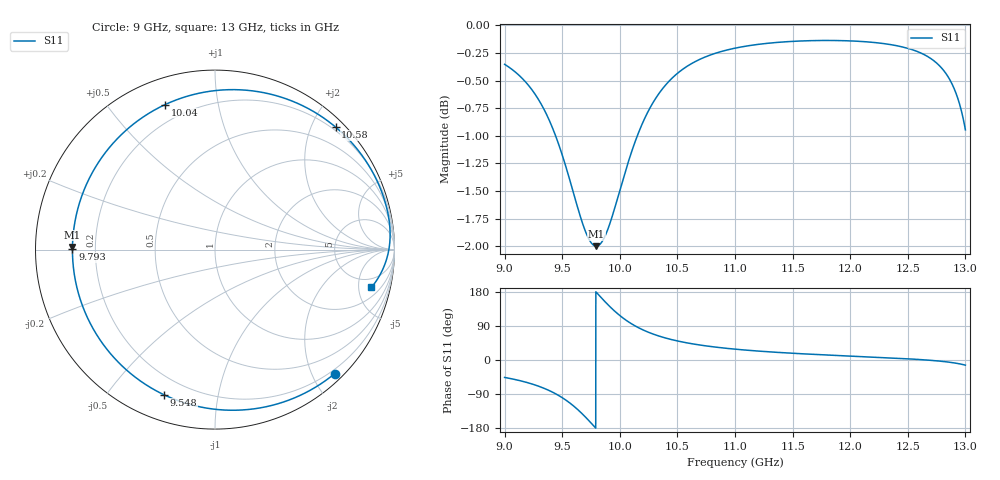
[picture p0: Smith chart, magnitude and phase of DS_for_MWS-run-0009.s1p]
! TOUCHSTONE file generated by CST DESIGN STUDIO
! Date and time: Tue Feb  4 14:03:09 2025
! Project name: C:\Work\MatlabApps\UnitCellOptimizationMatlab\CST\unitcell.cst
! Tree item: Tasks\Sweep1\SPara1\S-Parameters
! Header version: 2024
! Port assignment regex: !\s*Touchstone port\s*([0-9]+)\s*=\s*(CST MWS port|CST DES external port|CST DES block port)\s*(.+)\s* \(\"(.*)\"\)(\s*mode\s*([0-9]+))?.*
! Touchstone port assignment:
! Touchstone port 1 = CST DES external port 1 ("")
# GHz S MA R 50
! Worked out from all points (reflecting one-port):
!   4001 points, 9 GHz to 13 GHz, reference 50 ohm
!   lowest |S11| = -2.0 dB at 9.795 GHz (marker M1), VSWR 8.72, Z = 5.73 + j0.435 ohm
!   phase of S11 starts at -46 deg and turns -328 deg over the sweep
!   S11 on the Smith chart (normalised r, x): 9 GHz: 0.13, -2.35; 9.548 GHz: 0.12, -0.70; 9.793 GHz: 0.11, +0.00; 10.04 GHz: 0.12, +0.71; 10.58 GHz: 0.14, +2.38; 13 GHz: 3.22, -6.93
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9  0.9602 -46.0
9.142  0.9475 -55.2
9.272  0.9295 -66.7
9.387  0.9059 -80.6
9.5  0.8736 -99.3
9.548  0.8573 -109.3
9.606  0.8367 -123.2
9.662  0.8178 -138.5
9.731  0.8003 -159.8
9.793  0.7943 179.7
9.795  0.7943 179.0
9.838  0.797 164.7
9.883  0.8052 150.2
9.942  0.8219 132.7
10  0.8418 117.4
10.036  0.8544 109.0
10.132  0.8855 90.2
10.255  0.9161 72.4
10.37  0.9359 60.4
10.5  0.9512 50.3
10.578  0.9578 45.5
10.766  0.9687 36.5
11  0.9765 28.6
11.5  0.9835 17.8
12  0.984 10.4
12.5  0.9763 3.1
12.795  0.9563 -3.5
13  0.8968 -13.6
